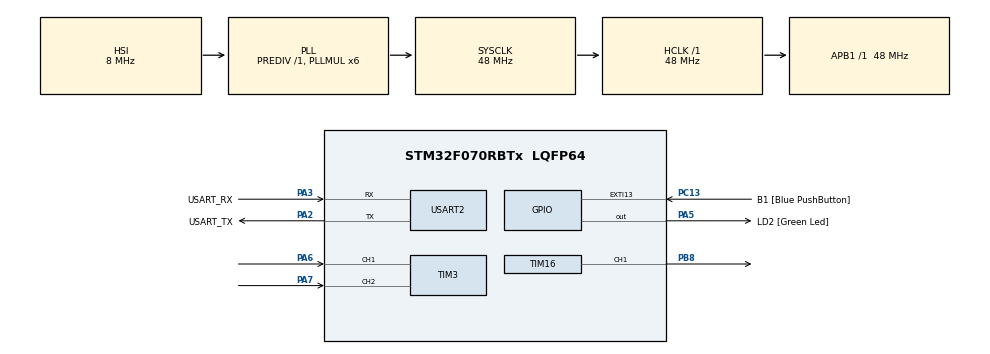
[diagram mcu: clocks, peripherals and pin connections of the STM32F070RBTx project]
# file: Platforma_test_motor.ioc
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Mcu.Family=STM32F0
Mcu.Name=STM32F070RBTx
Mcu.Package=LQFP64
NVIC.EXTI4_15_IRQn=true\:1\:0\:true\:false\:true\:true\:true\:true
NVIC.TIM3_IRQn=true\:1\:0\:true\:false\:true\:true\:true\:true
NVIC.TIM6_IRQn=true\:1\:0\:true\:false\:true\:true\:true\:true
NVIC.USART2_IRQn=true\:0\:0\:true\:false\:true\:true\:true\:true
PA13.GPIO_Label=TMS
PA13.Mode=Serial_Wire
PA13.Signal=SYS_SWDIO
PA14.GPIO_Label=TCK
PA14.Mode=Serial_Wire
PA14.Signal=SYS_SWCLK
PA2.GPIO_Label=USART_TX
PA2.Mode=Asynchronous
PA2.Signal=USART2_TX
PA3.GPIO_Label=USART_RX
PA3.Mode=Asynchronous
PA3.Signal=USART2_RX
PA5.GPIO_Label=LD2 [Green Led]
PA5.Signal=GPIO_Output
PA6.Signal=S_TIM3_CH1
PA7.Signal=S_TIM3_CH2
PB8.Signal=S_TIM16_CH1
PC13.GPIO_Label=B1 [Blue PushButton]
PC13.GPIO_ModeDefaultEXTI=GPIO_MODE_IT_FALLING
PC13.Signal=GPXTI13
PC14-OSC32_IN.GPIO_Label=RCC_OSC32_IN
PC14-OSC32_IN.Mode=LSE-External-Oscillator
PC14-OSC32_IN.Signal=RCC_OSC32_IN
PC15-OSC32_OUT.GPIO_Label=RCC_OSC32_OUT
PC15-OSC32_OUT.Mode=LSE-External-Oscillator
PC15-OSC32_OUT.Signal=RCC_OSC32_OUT
PF0-OSC_IN.GPIO_Label=RCC_OSC_IN
PF0-OSC_IN.Mode=HSE-External-Clock-Source
PF0-OSC_IN.Signal=RCC_OSC_IN
PF1-OSC_OUT.GPIO_Label=RCC_OSC_OUT
PF1-OSC_OUT.Signal=RCC_OSC_OUT
ProjectManager.HeapSize=0x200
ProjectManager.StackSize=0x400
ProjectManager.TargetToolchain=STM32CubeIDE
RCC.AHBFreq_Value=48000000
RCC.APB1Freq_Value=48000000
RCC.APB1TimFreq_Value=48000000
RCC.HCLKFreq_Value=48000000
RCC.PLLMUL=RCC_PLL_MUL6
RCC.SYSCLKFreq_VALUE=48000000
RCC.SYSCLKSource=RCC_SYSCLKSOURCE_PLLCLK
SH.S_TIM16_CH1.0=TIM16_CH1,PWM Generation1 CH1
SH.S_TIM3_CH1.0=TIM3_CH1,Encoder_Interface
SH.S_TIM3_CH2.0=TIM3_CH2,Encoder_Interface
TIM16.Channel=TIM_CHANNEL_1
USART2.VirtualMode-Asynchronous=VM_ASYNC
VP_TIM16_VS_ClockSourceINT.Mode=Enable_Timer
VP_TIM6_VS_ClockSourceINT.Mode=Enable_Timer
board=NUCLEO-F070RB

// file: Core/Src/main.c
/* USER CODE BEGIN Header */
/**
  ******************************************************************************
  * @file           : main.c
  * @brief          : Main program body
  ******************************************************************************
  * @attention
  *
  * Copyright (c) 2024 STMicroelectronics.
  * All rights reserved.
  *
  * This software is licensed under terms that can be found in the LICENSE file
  * in the root directory of this software component.
  * If no LICENSE file comes with this software, it is provided AS-IS.
  *
  ******************************************************************************
  */
/* USER CODE END Header */
#include "main.h"

/* USER CODE BEGIN Includes */

// library containing various types of integer variables
#include <stdint.h>
// library containing functions for string manipulation
#include <string.h>

/* USER CODE END Includes */

/* USER CODE BEGIN PD */

// number of encoder counts per rotation
#define counts_per_rotation ((uint8_t) 14)
// sampling period ( in milliseconds )
#define sampling_period ((uint8_t) 50)
// value used for conversion from counts to RPM
#define counts_to_rpm (((float)(( 1e3 / sampling_period )) * 2 / 5) / counts_per_rotation)
// address of the register that stores the duty value for the PWM signal
#define PWM_Duty_Value_Register ((volatile uint16_t * )0x40014434)
// gain for the current error ( used in the PI algorithm )
#define current_gain ((float) 0.7410)
// gain for the previous error ( used in the PI algorithm )
#define previous_gain ((float) -0.6377)
// slope value used for ( linear ) conversion from duty cycle to RPM
#define slope ((float) 1.2937)
// offset value used for ( linear ) conversion from duty cycle to RPM
#define offset ((float) -39.1606)

/* USER CODE END PD */

TIM_HandleTypeDef htim3;
TIM_HandleTypeDef htim6;
TIM_HandleTypeDef htim16;

UART_HandleTypeDef huart2;

/* USER CODE BEGIN PV */

// variables used for motor readings
// counter value at current reading
uint16_t count;
// counter value at previous reading
uint16_t count_prev;
// motor shaft rotation speed ( measured in RPM )
float speed;
// vector used for storing the speed readings of the motor
float speed_vector[200];
// index used for moving through the vector mentioned above
uint8_t speed_index = 200;
// buffer used for UART data communication
uint8_t uart_buffer[10];
// index used for moving through the UART buffer
uint8_t uart_index;
// variable that stores the vale of the set speed based on the PWM value
float set_speed;
//variable that stores the value of the previous speed error
float error_prev;
// variable that stores the value of the current speed error
float error_curr;
// variable that stores the command sent to the process at the current step
float command_curr;
// variable that stores the command sent to the process at the previous step
float command_prev;

/* USER CODE END PV */

void SystemClock_Config(void);
static void MX_GPIO_Init(void);
static void MX_USART2_UART_Init(void);
static void MX_TIM3_Init(void);
static void MX_TIM6_Init(void);
static void MX_TIM16_Init(void);

/* USER CODE BEGIN 0 */

// callback function that gets called when a full sampling period has passed
void HAL_TIM_PeriodElapsedCallback(TIM_HandleTypeDef *htim)
{
	// timer 6 is the timer used for sampling the sensor readings
	if(htim->Instance == TIM6)
	{

		// the counter stores the number of rising-edge and falling-edge transitions
		// performed by Channel 1 and Channel 2 during a full rotation of the motor shaft
		count = __HAL_TIM_GET_COUNTER(&htim3);

		// variable that stores the difference between current count and previous count
        int32_t diff = count - count_prev;

        // if the difference is negative it means that the timer 3 counter performed an overflow
		if( diff < 0 ) diff += 0x0000FFFF;

	    // calculate current speed ( measured in RPM )
	    speed = counts_to_rpm * diff;

        ////////////////////////////////////////////////////////////////////////////////////////
	    /* comment this part out if all you want to do is to test the process, this part is used
	    for implementing the PI control algorithm */

	    // calculate the current error between the set and actual speed
	    error_curr = set_speed - speed;

	    // calculate the value of the command ( in RPM )
	    command_curr = command_prev + current_gain * error_curr + previous_gain * error_prev;

	    // convert the command to duty cycle value and write it in the register that stores said value
	    * PWM_Duty_Value_Register =  (uint16_t)(30 * ((command_curr - offset) / slope));

	    // update the value of error_prev
	    error_prev = error_curr;

	    // update the value of command_prev
	    command_prev = command_curr;

        /* the part mentioned above ends here */
	    ////////////////////////////////////////////////////////////////////////////////////////

	    // populating the vector with speed readings ( for a total of 40 * 200 = 8000 milliseconds )
	    if(speed_index < 200) speed_vector[speed_index++] = speed;

	    // update count_prev variable with the value of count
	    count_prev = count;
	}
}

// callback function that gets called when a full message ( one byte ) has been received through UART
void HAL_UART_RxCpltCallback(UART_HandleTypeDef *huart)
{
	// UART 2 is being used to communicate with the terminal
	if(huart->Instance == USART2)
	{
	    // if the last character in the buffer is newLine, it means the terminal sent a full message
		// representing a duty cycle of the PWM
	    if(*(uart_buffer + uart_index - 1) == '\n')
	    {
		    // convert data received from terminal into a PWM duty cycle
		    uint16_t msg_to_duty = 10 * ((uint16_t)uart_buffer[0]) + ((uint16_t)uart_buffer[1]) - 528;
	    	// if the duty cycle is situated in the linear region of operation, write it in the
		    // corresponding register ( multiply it by 30 so that it scales with the PWM timer
		    // period of 3000 ). Otherwise, we set the value of said register to 0 so that we don't
		    // risk unwanted behavior from the motor.

		    // based on the same observations, we modify the value of the set_speed parameter using the
		    // first degree analytical relation obtained by linearization
		    if(msg_to_duty >= 38 && msg_to_duty <= 74)
		    {
		       * PWM_Duty_Value_Register = msg_to_duty * 30;
		       set_speed = ((float)( msg_to_duty )) * slope + offset;
		    }
		    else
		    {
		       * PWM_Duty_Value_Register = 0;
		       set_speed = 0;
		    }
		    // reset the data buffer
		    uart_index = 0;
	    }
	    // restart receiving data from the terminal
	    if(UART_Start_Receive_IT(&huart2, uart_buffer + ( uart_index ++ ), 1) != HAL_OK )
	    {
		    Error_Handler();
	    }
	}
}

// callback function that gets called when the user button ( blue ) is pressed
void HAL_GPIO_EXTI_Callback(uint16_t GPIO_Pin)
{
	// the button associated with the user button is pin 13 from port C
	if(GPIO_Pin == GPIO_PIN_13)
	{
		// static variable to determine the state of the user button
		static uint8_t button_state;
		// switch statement to implement a sequence of steps used to determine the response of
		// the motor for a step reference
		switch(button_state)
		{

		// set the PWM signal at 0% duty cycle so that the rotary shaft of the motor doesn't spin
		case 0:
		* PWM_Duty_Value_Register = 0;
		// modifying set_speed is relevant only for closed loop testing, otherwise it doesn't
		// have any effect on the simulation
		// in case of closed loop, we modify the set speed so that it matches the value written in
		// the PWM duty cycle register
		set_speed = 0;
		break;

		// apply the step reference by setting the PWM signal at 60% duty cycle and set
		// speed_index at 0 so the response starts getting captured in the speed vector
		case 1:
	    speed_index = 0;
		* PWM_Duty_Value_Register = 60 * 30;
		// same observation as the one present in the first case
		set_speed =  ((float)( 60 )) * slope + offset;
		break;

		// reset the PWM signal at 0% duty cycle so that the rotor of the motor stops spinning
		case 2:
	    * PWM_Duty_Value_Register = 0;
	    // same observation as the one present in the first case
	    set_speed =  0;
	    break;

		// send the vector containing the response of the motor to the terminal through UART
		case 3:
	    for(uint8_t i = 0; i < 200; i++)
        {
	       sprintf(uart_buffer,"%.4f \0",*(speed_vector + i));
	       if(HAL_UART_Transmit(&huart2,uart_buffer,strlen(uart_buffer),HAL_MAX_DELAY) != HAL_OK)
	       {
	    	  Error_Handler();
	       }
        }
		break;
		}

		// if the button_state variable reaches value 4 then it has to be reset at value 0 so that
		// the process can be performed again
		button_state++;
		if(button_state == 4) button_state = 0;
	}
}

/* USER CODE END 0 */

int main(void)
{

  /* MCU Configuration--------------------------------------------------------*/

  /* Reset of all peripherals, Initializes the Flash interface and the Systick. */
  HAL_Init();

  /* Configure the system clock */
  SystemClock_Config();

  /* Initialize all configured peripherals */
  MX_GPIO_Init();
  MX_USART2_UART_Init();
  MX_TIM3_Init();
  MX_TIM6_Init();
  MX_TIM16_Init();
  /* USER CODE BEGIN 2 */

  // start receiving data the terminal, one byte at a time
  if(UART_Start_Receive_IT(&huart2, uart_buffer + ( uart_index ++ ), 1) != HAL_OK )
  {
	  Error_Handler();
  }

  // starting Timer 16 in PWM mode
  if(HAL_TIM_PWM_Start(&htim16,TIM_CHANNEL_1) != HAL_OK)
  {
	  Error_Handler();
  }

  // starting Timer 3 in encoder mode
  if(HAL_TIM_Encoder_Start(&htim3,TIM_CHANNEL_ALL) != HAL_OK)
  {
	  Error_Handler();
  }

  // starting Timer 6 in normal mode

  if(HAL_TIM_Base_Start_IT(&htim6) != HAL_OK)
   {
 	  Error_Handler();
   }

  /* USER CODE END 2 */

  /* Infinite loop */
  while (1)
  {

  }
}

void SystemClock_Config(void)
{
  RCC_OscInitTypeDef RCC_OscInitStruct = {0};
  RCC_ClkInitTypeDef RCC_ClkInitStruct = {0};

  /** Initializes the RCC Oscillators according to the specified parameters
  * in the RCC_OscInitTypeDef structure.
  */
  RCC_OscInitStruct.OscillatorType = RCC_OSCILLATORTYPE_HSI;
  RCC_OscInitStruct.HSIState = RCC_HSI_ON;
  RCC_OscInitStruct.HSICalibrationValue = RCC_HSICALIBRATION_DEFAULT;
  RCC_OscInitStruct.PLL.PLLState = RCC_PLL_ON;
  RCC_OscInitStruct.PLL.PLLSource = RCC_PLLSOURCE_HSI;
  RCC_OscInitStruct.PLL.PLLMUL = RCC_PLL_MUL6;
  RCC_OscInitStruct.PLL.PREDIV = RCC_PREDIV_DIV1;
  if (HAL_RCC_OscConfig(&RCC_OscInitStruct) != HAL_OK)
  {
    Error_Handler();
  }

  /** Initializes the CPU, AHB and APB buses clocks
  */
  RCC_ClkInitStruct.ClockType = RCC_CLOCKTYPE_HCLK|RCC_CLOCKTYPE_SYSCLK
                              |RCC_CLOCKTYPE_PCLK1;
  RCC_ClkInitStruct.SYSCLKSource = RCC_SYSCLKSOURCE_PLLCLK;
  RCC_ClkInitStruct.AHBCLKDivider = RCC_SYSCLK_DIV1;
  RCC_ClkInitStruct.APB1CLKDivider = RCC_HCLK_DIV1;

  if (HAL_RCC_ClockConfig(&RCC_ClkInitStruct, FLASH_LATENCY_1) != HAL_OK)
  {
    Error_Handler();
  }
}

static void MX_TIM3_Init(void)
{

  TIM_Encoder_InitTypeDef sConfig = {0};
  TIM_MasterConfigTypeDef sMasterConfig = {0};

  htim3.Instance = TIM3;
  htim3.Init.Prescaler = 0;
  htim3.Init.CounterMode = TIM_COUNTERMODE_UP;
  htim3.Init.Period = 65535;
  htim3.Init.ClockDivision = TIM_CLOCKDIVISION_DIV1;
  htim3.Init.AutoReloadPreload = TIM_AUTORELOAD_PRELOAD_DISABLE;
  sConfig.EncoderMode = TIM_ENCODERMODE_TI1;
  sConfig.IC1Polarity = TIM_ICPOLARITY_RISING;
  sConfig.IC1Selection = TIM_ICSELECTION_DIRECTTI;
  sConfig.IC1Prescaler = TIM_ICPSC_DIV1;
  sConfig.IC1Filter = 0;
  sConfig.IC2Polarity = TIM_ICPOLARITY_RISING;
  sConfig.IC2Selection = TIM_ICSELECTION_DIRECTTI;
  sConfig.IC2Prescaler = TIM_ICPSC_DIV1;
  sConfig.IC2Filter = 0;
  if (HAL_TIM_Encoder_Init(&htim3, &sConfig) != HAL_OK)
  {
    Error_Handler();
  }
  sMasterConfig.MasterOutputTrigger = TIM_TRGO_RESET;
  sMasterConfig.MasterSlaveMode = TIM_MASTERSLAVEMODE_DISABLE;
  if (HAL_TIMEx_MasterConfigSynchronization(&htim3, &sMasterConfig) != HAL_OK)
  {
    Error_Handler();
  }

}

static void MX_TIM6_Init(void)
{

  htim6.Instance = TIM6;
  htim6.Init.Prescaler = sampling_period - 1;
  htim6.Init.CounterMode = TIM_COUNTERMODE_UP;
  htim6.Init.Period = 48000;
  htim6.Init.AutoReloadPreload = TIM_AUTORELOAD_PRELOAD_DISABLE;
  if (HAL_TIM_Base_Init(&htim6) != HAL_OK)
  {
    Error_Handler();
  }

}

static void MX_TIM16_Init(void)
{

  TIM_OC_InitTypeDef sConfigOC = {0};
  TIM_BreakDeadTimeConfigTypeDef sBreakDeadTimeConfig = {0};

  htim16.Instance = TIM16;
  htim16.Init.Prescaler = 0;
  htim16.Init.CounterMode = TIM_COUNTERMODE_UP;
  htim16.Init.Period = 3000;
  htim16.Init.ClockDivision = TIM_CLOCKDIVISION_DIV1;
  htim16.Init.RepetitionCounter = 0;
  htim16.Init.AutoReloadPreload = TIM_AUTORELOAD_PRELOAD_DISABLE;
  if (HAL_TIM_Base_Init(&htim16) != HAL_OK)
  {
    Error_Handler();
  }
  if (HAL_TIM_PWM_Init(&htim16) != HAL_OK)
  {
    Error_Handler();
  }
  sConfigOC.OCMode = TIM_OCMODE_PWM1;
  sConfigOC.Pulse = 0;
  sConfigOC.OCPolarity = TIM_OCPOLARITY_HIGH;
  sConfigOC.OCNPolarity = TIM_OCNPOLARITY_HIGH;
  sConfigOC.OCFastMode = TIM_OCFAST_DISABLE;
  sConfigOC.OCIdleState = TIM_OCIDLESTATE_RESET;
  sConfigOC.OCNIdleState = TIM_OCNIDLESTATE_RESET;
  if (HAL_TIM_PWM_ConfigChannel(&htim16, &sConfigOC, TIM_CHANNEL_1) != HAL_OK)
  {
    Error_Handler();
  }
  sBreakDeadTimeConfig.OffStateRunMode = TIM_OSSR_DISABLE;
  sBreakDeadTimeConfig.OffStateIDLEMode = TIM_OSSI_DISABLE;
  sBreakDeadTimeConfig.LockLevel = TIM_LOCKLEVEL_OFF;
  sBreakDeadTimeConfig.DeadTime = 0;
  sBreakDeadTimeConfig.BreakState = TIM_BREAK_DISABLE;
  sBreakDeadTimeConfig.BreakPolarity = TIM_BREAKPOLARITY_HIGH;
  sBreakDeadTimeConfig.AutomaticOutput = TIM_AUTOMATICOUTPUT_DISABLE;
  if (HAL_TIMEx_ConfigBreakDeadTime(&htim16, &sBreakDeadTimeConfig) != HAL_OK)
  {
    Error_Handler();
  }
  HAL_TIM_MspPostInit(&htim16);

}

static void MX_USART2_UART_Init(void)
{

  huart2.Instance = USART2;
  huart2.Init.BaudRate = 38400;
  huart2.Init.WordLength = UART_WORDLENGTH_8B;
  huart2.Init.StopBits = UART_STOPBITS_1;
  huart2.Init.Parity = UART_PARITY_NONE;
  huart2.Init.Mode = UART_MODE_TX_RX;
  huart2.Init.HwFlowCtl = UART_HWCONTROL_NONE;
  huart2.Init.OverSampling = UART_OVERSAMPLING_16;
  huart2.Init.OneBitSampling = UART_ONE_BIT_SAMPLE_DISABLE;
  huart2.AdvancedInit.AdvFeatureInit = UART_ADVFEATURE_NO_INIT;
  if (HAL_UART_Init(&huart2) != HAL_OK)
  {
    Error_Handler();
  }

}

static void MX_GPIO_Init(void)
{
  GPIO_InitTypeDef GPIO_InitStruct = {0};

  /* GPIO Ports Clock Enable */
  __HAL_RCC_GPIOC_CLK_ENABLE();
  __HAL_RCC_GPIOF_CLK_ENABLE();
  __HAL_RCC_GPIOA_CLK_ENABLE();
  __HAL_RCC_GPIOB_CLK_ENABLE();

  /*Configure GPIO pin Output Level */
  HAL_GPIO_WritePin(LD2_GPIO_Port, LD2_Pin, GPIO_PIN_RESET);

  /*Configure GPIO pin : B1_Pin */
  GPIO_InitStruct.Pin = B1_Pin;
  GPIO_InitStruct.Mode = GPIO_MODE_IT_FALLING;
  GPIO_InitStruct.Pull = GPIO_NOPULL;
  HAL_GPIO_Init(B1_GPIO_Port, &GPIO_InitStruct);

  /*Configure GPIO pin : LD2_Pin */
  GPIO_InitStruct.Pin = LD2_Pin;
  GPIO_InitStruct.Mode = GPIO_MODE_OUTPUT_PP;
  GPIO_InitStruct.Pull = GPIO_NOPULL;
  GPIO_InitStruct.Speed = GPIO_SPEED_FREQ_LOW;
  HAL_GPIO_Init(LD2_GPIO_Port, &GPIO_InitStruct);

  /* EXTI interrupt init*/
  HAL_NVIC_SetPriority(EXTI4_15_IRQn, 1, 0);
  HAL_NVIC_EnableIRQ(EXTI4_15_IRQn);

}

void Error_Handler(void)
{
  __disable_irq();
  while (1)
  {
  }
}
